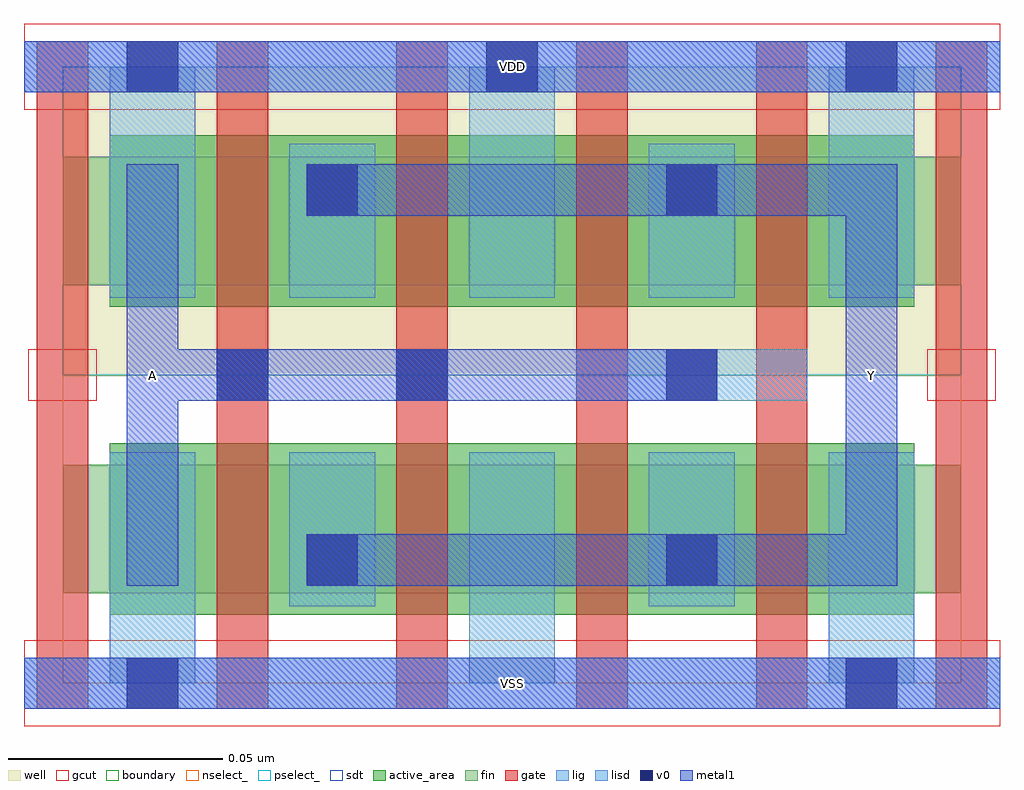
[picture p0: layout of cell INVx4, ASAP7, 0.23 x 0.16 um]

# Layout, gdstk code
import gdstk
lib = gdstk.Library(unit=1e-6, precision=2.5e-10)
def R(c, l, rs):  # rectangles x0, y0, x1, y1
    for r in rs: c.add(gdstk.rectangle(r[:2], r[2:], *l))
def A(c, l, x, y, w, h, nx, ny, dx, dy):  # array of equal rectangles
    R(c, l, [(x+i*dx, y+j*dy, x+i*dx+w, y+j*dy+h) for i in range(nx) for j in range(ny)])
def P(c, l, *ps):  # polygons
    for p in ps: c.add(gdstk.Polygon(p, *l))
well = (1, 0)
fin = (2, 0)
gate = (7, 0)
gcut = (10, 0)
active_area = (11, 0)
nselect_ = (12, 0)
pselect_ = (13, 0)
lig = (16, 0)
lisd = (17, 0)
v0 = (18, 0)
metal1 = (19, 0)
sdt = (88, 0)
boundary = (100, 0)

invx4 = lib.new_cell('INVx4')
R(invx4, well, [(0,0.072,0.21,0.144)])
R(invx4, fin, [(0,0.021,0.21,0.051), (0,0.093,0.21,0.123)])
A(invx4, gate, -0.006, -0.006, 0.012, 0.156, 6, 1, 0.042, 0)
R(invx4, gcut, [(-0.009,-0.01,0.219,0.01), (-0.008,0.066,0.008,0.078), (0.202,0.066,0.218,0.078), (-0.009,0.134,0.219,0.154)])
R(invx4, active_area, [(0.011,0.016,0.199,0.056), (0.011,0.088,0.199,0.128)])
R(invx4, nselect_, [(0,0,0.21,0.072)])
R(invx4, pselect_, [(0,0.072,0.21,0.144)])
R(invx4, lig, [(-0.009,-0.006,0.219,0.006), (0.036,0.066,0.048,0.078), (0.078,0.066,0.09,0.078), (0.12,0.066,0.174,0.078), (-0.009,0.138,0.219,0.15)])
A(invx4, lisd, 0.011, 0, 0.02, 0.054, 3, 2, 0.084, 0.09)
R(invx4, lisd, [(0.053,0.018,0.073,0.054), (0.137,0.018,0.157,0.054), (0.053,0.09,0.073,0.126), (0.137,0.09,0.157,0.126)])
A(invx4, v0, 0.141, 0.0227, 0.012, 0.012, 1, 3, 0, 0.0433)
A(invx4, v0, 0.015, 0.138, 0.012, 0.012, 3, 1, 0.084, 0)
R(invx4, v0, [(0.015,-0.006,0.027,0.006), (0.183,-0.006,0.195,0.006), (0.057,0.0227,0.069,0.0348), (0.036,0.066,0.048,0.078), (0.078,0.066,0.09,0.078), (0.057,0.1092,0.069,0.1212)])
R(invx4, metal1, [(-0.009,-0.006,0.219,0.006), (-0.009,0.138,0.219,0.15)])
P(invx4, metal1, [(0.015,0.0227),(0.027,0.0227),(0.027,0.066),(0.153,0.066),(0.153,0.078),(0.027,0.078),(0.027,0.1212),(0.015,0.1212)],
  [(0.057,0.1092),(0.183,0.1092),(0.183,0.0348),(0.057,0.0348),(0.057,0.0227),(0.195,0.0227),(0.195,0.1212),(0.057,0.1212)])
A(invx4, sdt, 0.011, 0.021, 0.02, 0.03, 5, 2, 0.042, 0.072)
R(invx4, boundary, [(0,0,0.21,0.144)])
invx4.add(gdstk.Label('Y', (0.189,0.072), layer=19, texttype=251))
invx4.add(gdstk.Label('A', (0.021,0.072), layer=19, texttype=251))
invx4.add(gdstk.Label('VSS', (0.105,0), layer=19, texttype=251))
invx4.add(gdstk.Label('VDD', (0.105,0.144), layer=19, texttype=251))

lib.write_gds('INVx4.gds')
